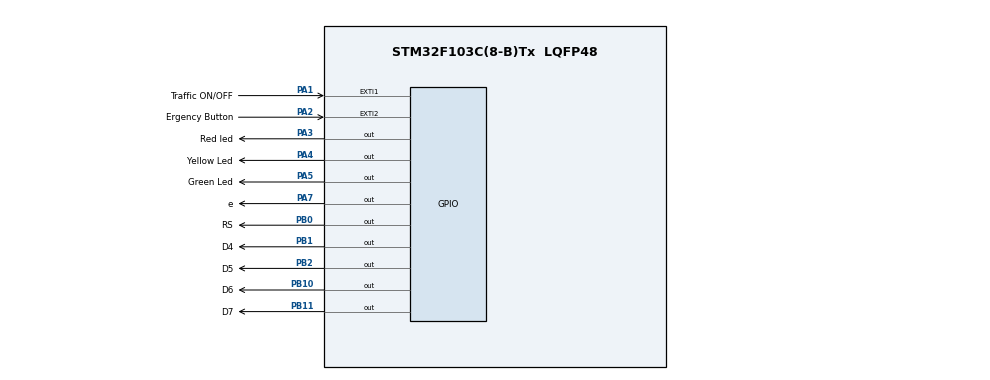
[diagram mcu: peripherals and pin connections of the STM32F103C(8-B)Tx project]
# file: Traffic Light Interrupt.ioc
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Mcu.Family=STM32F1
Mcu.Name=STM32F103C(8-B)Tx
Mcu.Package=LQFP48
NVIC.EXTI1_IRQn=true\:0\:0\:true\:false\:true\:true\:true\:true
NVIC.EXTI2_IRQn=true\:1\:0\:true\:false\:true\:true\:true\:true
NVIC.PriorityGroup=NVIC_PRIORITYGROUP_4
PA1.GPIO_Label=Traffic ON/OFF
PA1.GPIO_ModeDefaultEXTI=GPIO_MODE_IT_RISING
PA1.GPIO_PuPd=GPIO_PULLDOWN
PA1.Signal=GPXTI1
PA2.GPIO_Label=Ergency Button 
PA2.GPIO_PuPd=GPIO_PULLDOWN
PA2.Signal=GPXTI2
PA3.GPIO_Label=Red led
PA3.Signal=GPIO_Output
PA4.GPIO_Label=Yellow Led
PA4.Signal=GPIO_Output
PA5.GPIO_Label=Green Led
PA5.Signal=GPIO_Output
PA7.GPIO_Label=e
PA7.Signal=GPIO_Output
PB0.GPIO_Label=RS
PB0.Signal=GPIO_Output
PB1.GPIO_Label=D4
PB1.Signal=GPIO_Output
PB10.GPIO_Label=D6
PB10.Signal=GPIO_Output
PB11.GPIO_Label=D7
PB11.Signal=GPIO_Output
PB2.GPIO_Label=D5
PB2.Signal=GPIO_Output
PD0-OSC_IN.Mode=HSE-External-Oscillator
PD0-OSC_IN.Signal=RCC_OSC_IN
PD1-OSC_OUT.Mode=HSE-External-Oscillator
PD1-OSC_OUT.Signal=RCC_OSC_OUT
ProjectManager.HeapSize=0x200
ProjectManager.StackSize=0x400
ProjectManager.TargetToolchain=STM32CubeIDE
RCC.APB1Freq_Value=8000000
RCC.APB2Freq_Value=8000000
VP_SYS_VS_ND.Mode=No_Debug
board=custom

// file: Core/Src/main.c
/* USER CODE BEGIN Header */
/**
  ******************************************************************************
  * @file           : main.c
  * @brief          : Main program body
  ******************************************************************************
  * @attention
  *
  * Copyright (c) 2025 STMicroelectronics.
  * All rights reserved.
  *
  * This software is licensed under terms that can be found in the LICENSE file
  * in the root directory of this software component.
  * If no LICENSE file comes with this software, it is provided AS-IS.
  *
  ******************************************************************************
  */
/* USER CODE END Header */
#include "main.h"

/* USER CODE BEGIN Includes */
#include "../../ECUAL/LCD16X2/LCD16X2.h"
/* USER CODE END Includes */

/* USER CODE BEGIN PTD */
typedef   unsigned char  uint8;
typedef   unsigned long  uint16;
/* USER CODE END PTD */

/* USER CODE BEGIN PD */
#define OFF_STATE          0
#define NORMAL_STATE       1
#define EMERGENCY_STOP     2

#define RED_LED_PIN          GPIO_PIN_3
#define YELLOW_LED_PIN       GPIO_PIN_4
#define GREEN_LED_PIN        GPIO_PIN_5

#define RED_LED_PORT           GPIOA
#define YELLOW_LED_PORT        GPIOA
#define GREEN_LED_PORT         GPIOA

#define ENTER   1
#define GoOUT   0
/* USER CODE END PD */

/* USER CODE BEGIN PV */
uint8 CurrnetState = NORMAL_STATE;
uint8 TrafficIsON  = NORMAL_STATE;
uint8 NORMAL_STATE_ENTRANCE_FLAG = ENTER;
/* USER CODE END PV */

void SystemClock_Config(void);
static void MX_GPIO_Init(void);
/* USER CODE BEGIN PFP */
void NormalStateOperation(void);
void OffStateOperation(void);
void EmergemcyStopOperation(void);
/* USER CODE END PFP */

int main(void)
{

  /* MCU Configuration--------------------------------------------------------*/

  /* Reset of all peripherals, Initializes the Flash interface and the Systick. */
  HAL_Init();

  /* Configure the system clock */
  SystemClock_Config();

  /* Initialize all configured peripherals */
  MX_GPIO_Init();
  /* USER CODE BEGIN 2 */
  LCD16X2_Init(LCD16X2_1);
  /* USER CODE END 2 */

  /* Infinite loop */
  /* USER CODE BEGIN WHILE */
  while (1)
  {
	  switch(CurrnetState){
	  case NORMAL_STATE   :  NormalStateOperation();     break;
	  case OFF_STATE      :  OffStateOperation();        break;
	  case EMERGENCY_STOP :  EmergemcyStopOperation();   break;
	  }
    /* USER CODE END WHILE */

  }
}

void SystemClock_Config(void)
{
  RCC_OscInitTypeDef RCC_OscInitStruct = {0};
  RCC_ClkInitTypeDef RCC_ClkInitStruct = {0};

  /** Initializes the RCC Oscillators according to the specified parameters
  * in the RCC_OscInitTypeDef structure.
  */
  RCC_OscInitStruct.OscillatorType = RCC_OSCILLATORTYPE_HSI;
  RCC_OscInitStruct.HSIState = RCC_HSI_ON;
  RCC_OscInitStruct.HSICalibrationValue = RCC_HSICALIBRATION_DEFAULT;
  RCC_OscInitStruct.PLL.PLLState = RCC_PLL_NONE;
  if (HAL_RCC_OscConfig(&RCC_OscInitStruct) != HAL_OK)
  {
    Error_Handler();
  }

  /** Initializes the CPU, AHB and APB buses clocks
  */
  RCC_ClkInitStruct.ClockType = RCC_CLOCKTYPE_HCLK|RCC_CLOCKTYPE_SYSCLK
                              |RCC_CLOCKTYPE_PCLK1|RCC_CLOCKTYPE_PCLK2;
  RCC_ClkInitStruct.SYSCLKSource = RCC_SYSCLKSOURCE_HSI;
  RCC_ClkInitStruct.AHBCLKDivider = RCC_SYSCLK_DIV1;
  RCC_ClkInitStruct.APB1CLKDivider = RCC_HCLK_DIV1;
  RCC_ClkInitStruct.APB2CLKDivider = RCC_HCLK_DIV1;

  if (HAL_RCC_ClockConfig(&RCC_ClkInitStruct, FLASH_LATENCY_0) != HAL_OK)
  {
    Error_Handler();
  }
}

static void MX_GPIO_Init(void)
{
  GPIO_InitTypeDef GPIO_InitStruct = {0};

  /* GPIO Ports Clock Enable */
  __HAL_RCC_GPIOD_CLK_ENABLE();
  __HAL_RCC_GPIOA_CLK_ENABLE();
  __HAL_RCC_GPIOB_CLK_ENABLE();

  /*Configure GPIO pin Output Level */
  HAL_GPIO_WritePin(GPIOA, Red_led_Pin|Yellow_Led_Pin|Green_Led_Pin|e_Pin, GPIO_PIN_RESET);

  /*Configure GPIO pin Output Level */
  HAL_GPIO_WritePin(GPIOB, RS_Pin|D4_Pin|D5_Pin|D6_Pin
                          |D7_Pin, GPIO_PIN_RESET);

  /*Configure GPIO pins : Traffic_ON_OFF_Pin Ergency_Button_Pin */
  GPIO_InitStruct.Pin = Traffic_ON_OFF_Pin|Ergency_Button_Pin;
  GPIO_InitStruct.Mode = GPIO_MODE_IT_RISING;
  GPIO_InitStruct.Pull = GPIO_PULLDOWN;
  HAL_GPIO_Init(GPIOA, &GPIO_InitStruct);

  /*Configure GPIO pins : Red_led_Pin Yellow_Led_Pin Green_Led_Pin e_Pin */
  GPIO_InitStruct.Pin = Red_led_Pin|Yellow_Led_Pin|Green_Led_Pin|e_Pin;
  GPIO_InitStruct.Mode = GPIO_MODE_OUTPUT_PP;
  GPIO_InitStruct.Pull = GPIO_NOPULL;
  GPIO_InitStruct.Speed = GPIO_SPEED_FREQ_LOW;
  HAL_GPIO_Init(GPIOA, &GPIO_InitStruct);

  /*Configure GPIO pins : RS_Pin D4_Pin D5_Pin D6_Pin
                           D7_Pin */
  GPIO_InitStruct.Pin = RS_Pin|D4_Pin|D5_Pin|D6_Pin
                          |D7_Pin;
  GPIO_InitStruct.Mode = GPIO_MODE_OUTPUT_PP;
  GPIO_InitStruct.Pull = GPIO_NOPULL;
  GPIO_InitStruct.Speed = GPIO_SPEED_FREQ_LOW;
  HAL_GPIO_Init(GPIOB, &GPIO_InitStruct);

  /* EXTI interrupt init*/
  HAL_NVIC_SetPriority(EXTI1_IRQn, 0, 0);
  HAL_NVIC_EnableIRQ(EXTI1_IRQn);

  HAL_NVIC_SetPriority(EXTI2_IRQn, 1, 0);
  HAL_NVIC_EnableIRQ(EXTI2_IRQn);

}

/* USER CODE BEGIN 4 */
void HAL_GPIO_EXTI_Callback(uint16_t GPIO_Pin){
	LCD16X2_Clear(LCD16X2_1);
	switch(GPIO_Pin){
	case Traffic_ON_OFF_Pin :
		if((CurrnetState == NORMAL_STATE) || (CurrnetState == EMERGENCY_STOP)){
			CurrnetState = OFF_STATE;
		}else{
			CurrnetState = NORMAL_STATE;
		}
		break;
	case Ergency_Button_Pin :
		if(CurrnetState == NORMAL_STATE){
			CurrnetState = EMERGENCY_STOP;
		}else if(CurrnetState == EMERGENCY_STOP){
			CurrnetState = NORMAL_STATE;
		}else{CurrnetState = OFF_STATE;}
		break;
	default : {/*Nothing*/};
	}
}
void TrafficLCD(char *txt){
	LCD16X2_Clear(LCD16X2_1);
	LCD16X2_Set_Cursor(LCD16X2_1,1,1);
	LCD16X2_Write_String(LCD16X2_1,"Traffic : ON ");
	LCD16X2_Set_Cursor(LCD16X2_1,2,1);
	LCD16X2_Write_String(LCD16X2_1,"Light : ");
	LCD16X2_Set_Cursor(LCD16X2_1,2,9);
	LCD16X2_Write_String(LCD16X2_1,txt);
}
/* @brief solve the problem of delay when return from interrupt*/
void SmartDelay(uint16 delay){
	uint16 cnt = delay;
	while(cnt--){
		HAL_Delay(1);
		if(CurrnetState != NORMAL_STATE){
		NORMAL_STATE_ENTRANCE_FLAG = GoOUT;
		break;
		}
	}
}
void TrafficSequance(uint8 EntranceFlag,GPIO_TypeDef *Port , uint16_t Pin , char *txt){
	if(EntranceFlag == ENTER){
			HAL_GPIO_WritePin(Port, Pin, GPIO_PIN_SET);
			TrafficLCD(txt);
			SmartDelay(2000);
			HAL_GPIO_WritePin(Port, Pin, GPIO_PIN_RESET);
	}
}
void NormalStateOperation(){
	NORMAL_STATE_ENTRANCE_FLAG = ENTER;
	TrafficSequance(NORMAL_STATE_ENTRANCE_FLAG,RED_LED_PORT,RED_LED_PIN,"RED");
	TrafficSequance(NORMAL_STATE_ENTRANCE_FLAG,YELLOW_LED_PORT,YELLOW_LED_PIN,"YELLOW");
	TrafficSequance(NORMAL_STATE_ENTRANCE_FLAG,GREEN_LED_PORT,GREEN_LED_PIN,"GREEN");
}

void OffStateOperation(){
	LCD16X2_Set_Cursor(LCD16X2_1,1,1);
	LCD16X2_Write_String(LCD16X2_1,"Traffic : OFF ");
	/*off all lights*/
	HAL_GPIO_WritePin(RED_LED_PORT, RED_LED_PIN, GPIO_PIN_RESET);
	HAL_GPIO_WritePin(YELLOW_LED_PORT, YELLOW_LED_PIN, GPIO_PIN_RESET);
	HAL_GPIO_WritePin(GREEN_LED_PORT, GREEN_LED_PIN, GPIO_PIN_RESET);
}

void EmergemcyStopOperation(){
	HAL_GPIO_WritePin(RED_LED_PORT, RED_LED_PIN, GPIO_PIN_SET);
}
/* USER CODE END 4 */

void Error_Handler(void)
{
  __disable_irq();
  while (1)
  {
  }
}
